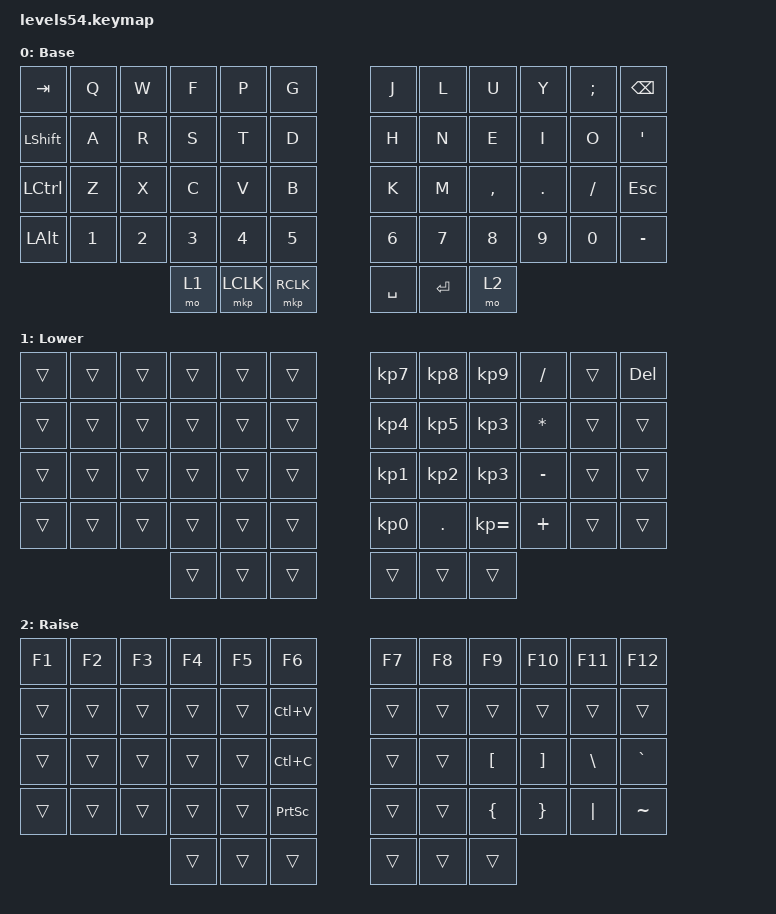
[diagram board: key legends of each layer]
#include <behaviors.dtsi>
#include <dt-bindings/zmk/keys.h>
#include <dt-bindings/zmk/pointing.h>

/ {
    keymap {
        compatible = "zmk,keymap";

        default_layer {
            display-name = "Base";
            bindings = <
&kp TAB         &kp Q         &kp W         &kp F         &kp P         &kp G        &kp J      &kp L       &kp U      &kp Y       &kp SEMICOLON  &kp BACKSPACE
&kp LEFT_SHIFT  &kp A         &kp R         &kp S         &kp T         &kp D        &kp H      &kp N       &kp E      &kp I       &kp O          &kp SQT
&kp LCTRL       &kp Z         &kp X         &kp C         &kp V         &kp B        &kp K      &kp M       &kp COMMA  &kp PERIOD  &kp SLASH      &kp ESCAPE
&kp LEFT_ALT    &kp NUMBER_1  &kp NUMBER_2  &kp NUMBER_3  &kp NUMBER_4  &kp N5       &kp N6     &kp N7      &kp N8     &kp N9      &kp N0         &kp MINUS
                                            &mo 1         &mkp LCLK     &mkp RCLK    &kp SPACE  &kp RETURN  &mo 2
            >;
        };

        lower_layer {
            display-name = "Lower";
            bindings = <
&trans  &trans  &trans  &trans  &trans  &trans    &kp KP_NUMBER_7  &kp KP_NUMBER_8  &kp KP_NUMBER_9  &kp SLASH     &trans  &kp DELETE
&trans  &trans  &trans  &trans  &trans  &trans    &kp KP_NUMBER_4  &kp KP_NUMBER_5  &kp KP_NUMBER_3  &kp ASTERISK  &trans  &trans
&trans  &trans  &trans  &trans  &trans  &trans    &kp KP_NUMBER_1  &kp KP_NUMBER_2  &kp KP_NUMBER_3  &kp MINUS     &trans  &trans
&trans  &trans  &trans  &trans  &trans  &trans    &kp KP_NUMBER_0  &kp PERIOD       &kp KP_EQUAL     &kp PLUS      &trans  &trans
                        &trans  &trans  &trans    &trans           &trans           &trans
            >;
        };

        raise_layer {
            display-name = "Raise";
            bindings = <
&kp F1  &kp F2  &kp F3  &kp F4  &kp F5  &kp F6             &kp F7  &kp F8  &kp F9            &kp F10   &kp F11   &kp F12
&trans  &trans  &trans  &trans  &trans  &kp LC(V)          &trans  &trans  &trans            &trans    &trans    &trans
&trans  &trans  &trans  &trans  &trans  &kp LC(C)          &trans  &trans  &kp LEFT_BRACKET  &kp RBKT  &kp BSLH  &kp GRAVE
&trans  &trans  &trans  &trans  &trans  &kp PRINTSCREEN    &trans  &trans  &kp LBRC          &kp RBRC  &kp PIPE  &kp TILDE
                        &trans  &trans  &trans             &trans  &trans  &trans
            >;
        };
    };
};
